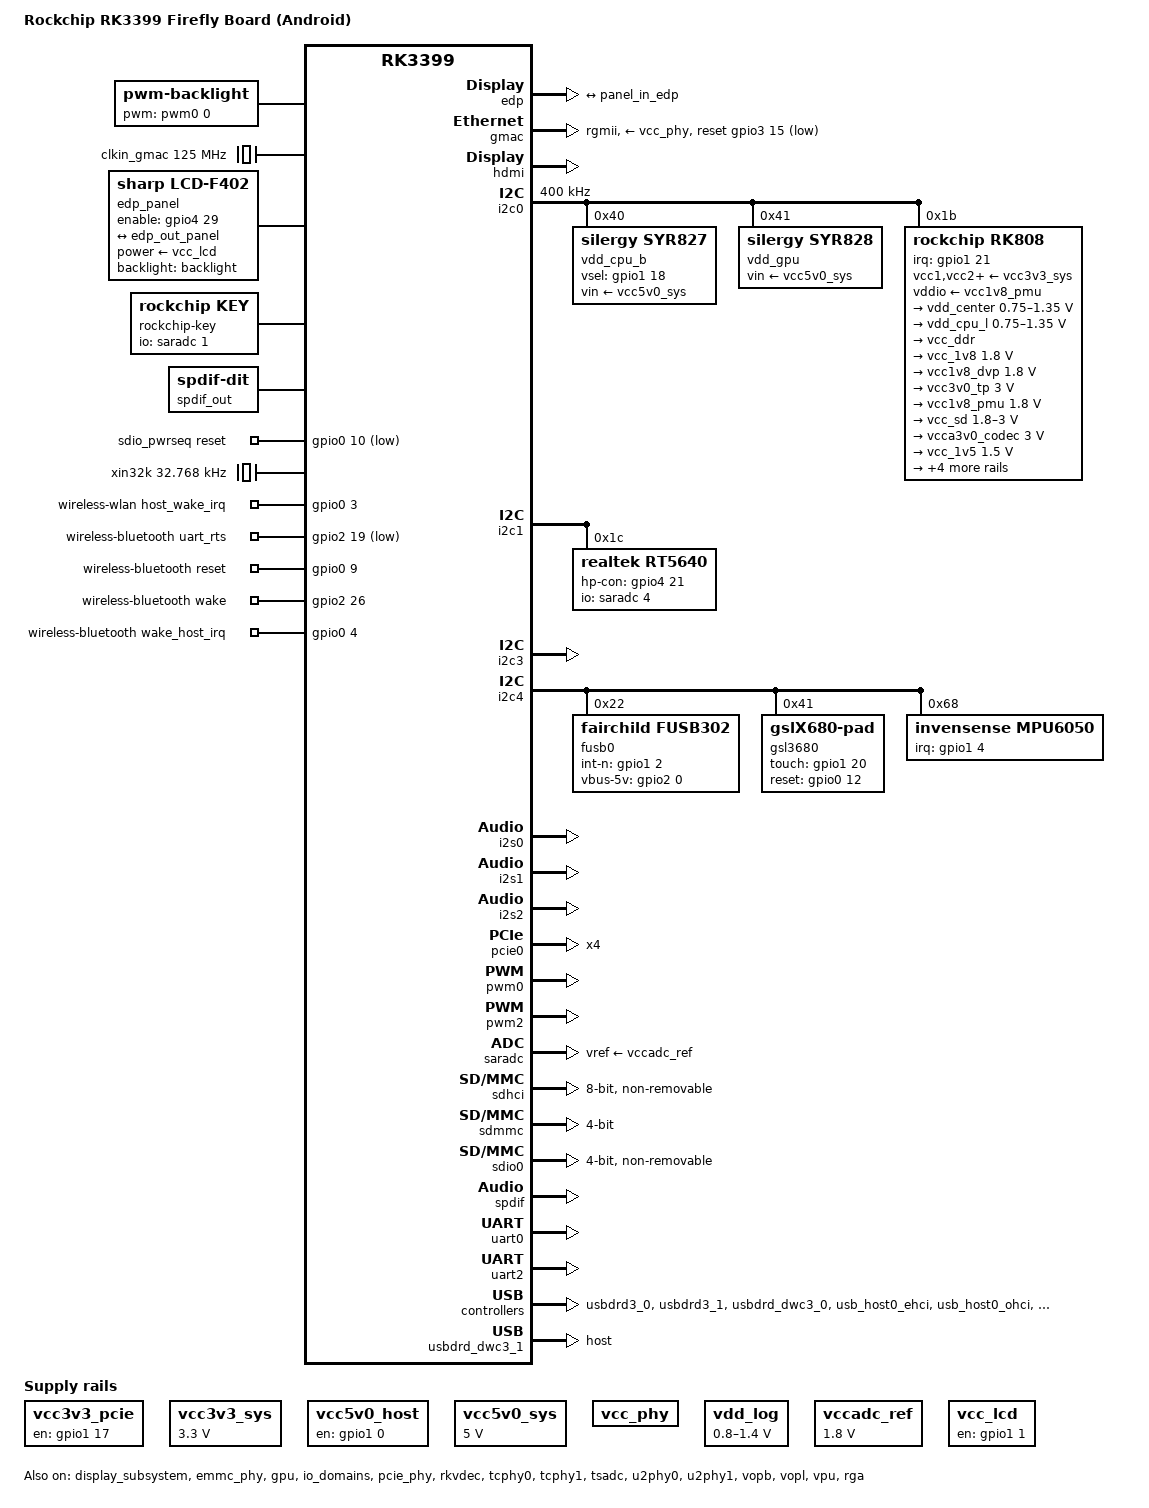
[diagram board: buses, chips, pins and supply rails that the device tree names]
/*
 * Copyright (c) 2017 Fuzhou Rockchip Electronics Co., Ltd
 *
 * This file is dual-licensed: you can use it either under the terms
 * of the GPL or the X11 license, at your option. Note that this dual
 * licensing only applies to this file, and not this project as a
 * whole.
 *
 *  a) This file is free software; you can redistribute it and/or
 *     modify it under the terms of the GNU General Public License as
 *     published by the Free Software Foundation; either version 2 of the
 *     License, or (at your option) any later version.
 *
 *     This file is distributed in the hope that it will be useful,
 *     but WITHOUT ANY WARRANTY; without even the implied warranty of
 *     MERCHANTABILITY or FITNESS FOR A PARTICULAR PURPOSE.  See the
 *     GNU General Public License for more details.
 *
 * Or, alternatively,
 *
 *  b) Permission is hereby granted, free of charge, to any person
 *     obtaining a copy of this software and associated documentation
 *     files (the "Software"), to deal in the Software without
 *     restriction, including without limitation the rights to use,
 *     copy, modify, merge, publish, distribute, sublicense, and/or
 *     sell copies of the Software, and to permit persons to whom the
 *     Software is furnished to do so, subject to the following
 *     conditions:
 *
 *     The above copyright notice and this permission notice shall be
 *     included in all copies or substantial portions of the Software.
 *
 *     THE SOFTWARE IS PROVIDED "AS IS", WITHOUT WARRANTY OF ANY KIND,
 *     EXPRESS OR IMPLIED, INCLUDING BUT NOT LIMITED TO THE WARRANTIES
 *     OF MERCHANTABILITY, FITNESS FOR A PARTICULAR PURPOSE AND
 *     NONINFRINGEMENT. IN NO EVENT SHALL THE AUTHORS OR COPYRIGHT
 *     HOLDERS BE LIABLE FOR ANY CLAIM, DAMAGES OR OTHER LIABILITY,
 *     WHETHER IN AN ACTION OF CONTRACT, TORT OR OTHERWISE, ARISING
 *     FROM, OUT OF OR IN CONNECTION WITH THE SOFTWARE OR THE USE OR
 *     OTHER DEALINGS IN THE SOFTWARE.
 */

/dts-v1/;

#include "dt-bindings/pwm/pwm.h"
#include "rk3399.dtsi"
#include "rk3399-opp.dtsi"
#include <dt-bindings/display/drm_mipi_dsi.h>
#include <dt-bindings/input/input.h>
#include "rk3399-vop-clk-set.dtsi"

/ {
	model = "Rockchip RK3399 Firefly Board (Android)";
	compatible = "rockchip,rk3399-firefly-android", "rockchip,rk3399";

	chosen {
		bootargs = "earlycon=uart8250,mmio32,0xff1a0000 swiotlb=1";
	};

	cpuinfo {
		compatible = "rockchip,cpuinfo";
		nvmem-cells = <&cpu_id>;
		nvmem-cell-names = "id";
	};

	ramoops_mem: ramoops_mem {
		reg = <0x0 0x110000 0x0 0xf0000>;
		reg-names = "ramoops_mem";
	};

	ramoops {
		compatible = "ramoops";
		record-size = <0x0 0x20000>;
		console-size = <0x0 0x80000>;
		ftrace-size = <0x0 0x00000>;
		pmsg-size = <0x0 0x50000>;
		memory-region = <&ramoops_mem>;
	};

	backlight: backlight {
		compatible = "pwm-backlight";
		pwms = <&pwm0 0 25000 0>;
		brightness-levels = <
			  0   1   2   3   4   5   6   7
			  8   9  10  11  12  13  14  15
			 16  17  18  19  20  21  22  23
			 24  25  26  27  28  29  30  31
			 32  33  34  35  36  37  38  39
			 40  41  42  43  44  45  46  47
			 48  49  50  51  52  53  54  55
			 56  57  58  59  60  61  62  63
			 64  65  66  67  68  69  70  71
			 72  73  74  75  76  77  78  79
			 80  81  82  83  84  85  86  87
			 88  89  90  91  92  93  94  95
			 96  97  98  99 100 101 102 103
			104 105 106 107 108 109 110 111
			112 113 114 115 116 117 118 119
			120 121 122 123 124 125 126 127
			128 129 130 131 132 133 134 135
			136 137 138 139 140 141 142 143
			144 145 146 147 148 149 150 151
			152 153 154 155 156 157 158 159
			160 161 162 163 164 165 166 167
			168 169 170 171 172 173 174 175
			176 177 178 179 180 181 182 183
			184 185 186 187 188 189 190 191
			192 193 194 195 196 197 198 199
			200 201 202 203 204 205 206 207
			208 209 210 211 212 213 214 215
			216 217 218 219 220 221 222 223
			224 225 226 227 228 229 230 231
			232 233 234 235 236 237 238 239
			240 241 242 243 244 245 246 247
			248 249 250 251 252 253 254 255>;
		default-brightness-level = <200>;
	};

	clkin_gmac: external-gmac-clock {
		compatible = "fixed-clock";
		clock-frequency = <125000000>;
		clock-output-names = "clkin_gmac";
		#clock-cells = <0>;
	};

	dw_hdmi_audio: dw-hdmi-audio {
		status = "okay";
		compatible = "rockchip,dw-hdmi-audio";
		#sound-dai-cells = <0>;
	};

	edp_panel: edp-panel {
		compatible = "sharp,lcd-f402", "panel-simple";
		status = "okay";

		backlight = <&backlight>;
		power-supply = <&vcc_lcd>;
		enable-gpios = <&gpio4 29 GPIO_ACTIVE_HIGH>;
		pinctrl-names = "default";
		pinctrl-0 = <&lcd_panel_reset>;

		ports {
			panel_in_edp: endpoint {
				remote-endpoint = <&edp_out_panel>;
			};
		};
	};

	fiq_debugger: fiq-debugger {
		compatible = "rockchip,fiq-debugger";
		rockchip,serial-id = <2>;
		rockchip,wake-irq = <0>;
		/* If enable uart uses irq instead of fiq */
		rockchip,irq-mode-enable = <0>;
		/* Only 115200 and 1500000 */
		rockchip,baudrate = <1500000>;
		pinctrl-names = "default";
		pinctrl-0 = <&uart2c_xfer>;
		interrupts = <GIC_SPI 150 IRQ_TYPE_LEVEL_HIGH 0>;
	};

	reserved-memory {
		#address-cells = <2>;
		#size-cells = <2>;
		ranges;

		drm_logo: drm-logo@00000000 {
			compatible = "rockchip,drm-logo";
			reg = <0x0 0x0 0x0 0x0>;
		};

		stb_devinfo: stb-devinfo@00000000 {
			compatible = "rockchip,stb-devinfo";
			reg = <0x0 0x0 0x0 0x0>;
		};
	};

	rockchip-key {
		compatible = "rockchip,key";
		status = "okay";

		io-channels = <&saradc 1>;
		power-key {
			gpios = <&gpio0 5 GPIO_ACTIVE_LOW>;
			linux,code = <116>;
			label = "power";
			gpio-key,wakeup;
		};
	};

	rt5640-sound {
		compatible = "simple-audio-card";
		simple-audio-card,format = "i2s";
		simple-audio-card,name = "rockchip,rt5640-codec";
		simple-audio-card,mclk-fs = <256>;
		simple-audio-card,widgets =
			"Microphone", "Mic Jack",
			"Headphone", "Headphone Jack";
		simple-audio-card,routing =
			"Mic Jack", "MICBIAS1",
			"IN1P", "Mic Jack",
			"Headphone Jack", "HPOL",
			"Headphone Jack", "HPOR";
		simple-audio-card,cpu {
			sound-dai = <&i2s1>;
		};
		simple-audio-card,codec {
			sound-dai = <&rt5640>;
		};
	};

	hdmi_sound: hdmi-sound {
		status = "disabled";
		compatible = "simple-audio-card";
		simple-audio-card,format = "i2s";
		simple-audio-card,mclk-fs = <256>;
		simple-audio-card,name = "rockchip,hdmi";

		simple-audio-card,cpu {
			sound-dai = <&i2s2>;
		};
		simple-audio-card,codec {
			sound-dai = <&dw_hdmi_audio>;
		};
	};

	hdmi_codec: hdmi-codec {
		compatible = "simple-audio-card";
		simple-audio-card,format = "i2s";
		simple-audio-card,mclk-fs = <256>;
		simple-audio-card,name = "HDMI-CODEC";

		simple-audio-card,cpu {
			sound-dai = <&i2s2>;
		};

		simple-audio-card,codec {
			sound-dai = <&hdmi>;
		};
	};

	rga: rga@ff680000 {
		compatible = "rockchip,rga2";
		dev_mode = <1>;
		reg = <0x0 0xff680000 0x0 0x1000>;
		interrupts = <GIC_SPI 55 IRQ_TYPE_LEVEL_HIGH 0>;
		clocks = <&cru ACLK_RGA>, <&cru HCLK_RGA>, <&cru SCLK_RGA_CORE>;
		clock-names = "aclk_rga", "hclk_rga", "clk_rga";
		power-domains = <&power RK3399_PD_RGA>;
		dma-coherent;
		status = "okay";
	};

	spdif-sound {
		compatible = "simple-audio-card";
		status = "okay";

		simple-audio-card,name = "ROCKCHIP,SPDIF";
		simple-audio-card,cpu {
			sound-dai = <&spdif>;
		};
		simple-audio-card,codec {
			sound-dai = <&spdif_out>;
		};
	};

	spdif_out: spdif-out {
		compatible = "linux,spdif-dit";
		status = "okay";

		#sound-dai-cells = <0>;
	};

	sdio_pwrseq: sdio-pwrseq {
		compatible = "mmc-pwrseq-simple";
		clocks = <&rk808 1>;
		clock-names = "ext_clock";
		pinctrl-names = "default";
		pinctrl-0 = <&wifi_enable_h>;

		/*
		 * On the module itself this is one of these (depending
		 * on the actual card populated):
		 * - SDIO_RESET_L_WL_REG_ON
		 * - PDN (power down when low)
		 */
		reset-gpios = <&gpio0 10 GPIO_ACTIVE_LOW>; /* GPIO0_B2 */
	};

	vcc3v3_pcie: vcc3v3-pcie-regulator {
		compatible = "regulator-fixed";
		enable-active-high;
		regulator-always-on;
		regulator-boot-on;
		gpio = <&gpio1 17 GPIO_ACTIVE_HIGH>;
		pinctrl-names = "default";
		pinctrl-0 = <&pcie_drv>;
		regulator-name = "vcc3v3_pcie";
	};

	vcc3v3_sys: vcc3v3-sys {
		compatible = "regulator-fixed";
		regulator-name = "vcc3v3_sys";
		regulator-always-on;
		regulator-boot-on;
		regulator-min-microvolt = <3300000>;
		regulator-max-microvolt = <3300000>;
	};

	vcc5v0_host: vcc5v0-host-regulator {
		compatible = "regulator-fixed";
		enable-active-high;
		gpio = <&gpio1 0 GPIO_ACTIVE_HIGH>;
		pinctrl-names = "default";
		pinctrl-0 = <&host_vbus_drv>;
		regulator-name = "vcc5v0_host";
		regulator-always-on;
	};

	vcc5v0_sys: vcc5v0-sys {
		compatible = "regulator-fixed";
		regulator-name = "vcc5v0_sys";
		regulator-always-on;
		regulator-boot-on;
		regulator-min-microvolt = <5000000>;
		regulator-max-microvolt = <5000000>;
	};

	vcc_phy: vcc-phy-regulator {
		compatible = "regulator-fixed";
		regulator-name = "vcc_phy";
		regulator-always-on;
		regulator-boot-on;
	};

	vdd_log: vdd-log {
		compatible = "pwm-regulator";
		pwms = <&pwm2 0 25000 1>;
		regulator-name = "vdd_log";
		regulator-min-microvolt = <800000>;
		regulator-max-microvolt = <1400000>;
		regulator-always-on;
		regulator-boot-on;

		/* for rockchip boot on */
		rockchip,pwm_id= <2>;
		rockchip,pwm_voltage = <1000000>;
	};

	vccadc_ref: vccadc-ref {
		compatible = "regulator-fixed";
		regulator-name = "vcc1v8_sys";
		regulator-always-on;
		regulator-boot-on;
		regulator-min-microvolt = <1800000>;
		regulator-max-microvolt = <1800000>;
	};

	vcc_lcd: vcc-lcd-regulator {
		compatible = "regulator-fixed";
		regulator-always-on;
		regulator-boot-on;
		enable-active-high;
		gpio = <&gpio1 1 GPIO_ACTIVE_HIGH>;
		pinctrl-names = "default";
		pinctrl-0 = <&lcd_en>;
		regulator-name = "vcc_lcd";
	};

	xin32k: xin32k {
		compatible = "fixed-clock";
		clock-frequency = <32768>;
		clock-output-names = "xin32k";
		#clock-cells = <0>;
	};

	wireless-wlan {
		compatible = "wlan-platdata";
		rockchip,grf = <&grf>;
		wifi_chip_type = "ap6354";
		sdio_vref = <1800>;
		WIFI,host_wake_irq = <&gpio0 3 GPIO_ACTIVE_HIGH>; /* GPIO0_a3 */
		status = "okay";
	};

	wireless-bluetooth {
		compatible = "bluetooth-platdata";
		//wifi-bt-power-toggle;
		uart_rts_gpios = <&gpio2 19 GPIO_ACTIVE_LOW>; /* GPIO2_C3 */
		pinctrl-names = "default", "rts_gpio";
		pinctrl-0 = <&uart0_rts>;
		pinctrl-1 = <&uart0_gpios>;
		//BT,power_gpio  = <&gpio3 19 GPIO_ACTIVE_HIGH>; /* GPIOx_xx */
		BT,reset_gpio    = <&gpio0 9 GPIO_ACTIVE_HIGH>; /* GPIO0_B1 */
		BT,wake_gpio     = <&gpio2 26 GPIO_ACTIVE_HIGH>; /* GPIO2_D2 */
		BT,wake_host_irq = <&gpio0 4 GPIO_ACTIVE_HIGH>; /* GPIO0_A4 */
		status = "okay";
	};
};

&cpu_l0 {
	cpu-supply = <&vdd_cpu_l>;
};

&cpu_l1 {
	cpu-supply = <&vdd_cpu_l>;
};

&cpu_l2 {
	cpu-supply = <&vdd_cpu_l>;
};

&cpu_l3 {
	cpu-supply = <&vdd_cpu_l>;
};

&cpu_b0 {
	cpu-supply = <&vdd_cpu_b>;
};

&cpu_b1 {
	cpu-supply = <&vdd_cpu_b>;
};

&display_subsystem {
	status = "okay";

	ports = <&vopb_out>, <&vopl_out>;
	logo-memory-region = <&drm_logo>;

	route {
		route_hdmi: route-hdmi {
			status = "okay";
			logo,uboot = "logo.bmp";
			logo,kernel = "logo_kernel.bmp";
			logo,mode = "fullscreen";
			charge_logo,mode = "center";
			connect = <&vopl_out_hdmi>;
		};

		route_edp: route-edp {
			status = "okay";
			logo,uboot = "logo.bmp";
			logo,kernel = "logo_kernel.bmp";
			logo,mode = "fullscreen";
			charge_logo,mode = "center";
			connect = <&vopb_out_edp>;
		};
	};
};

&edp {
	status = "okay";

	ports {
		edp_out: port@1 {
			reg = <1>;
			#address-cells = <1>;
			#size-cells = <0>;

			edp_out_panel: endpoint@0 {
				reg = <0>;
				remote-endpoint = <&panel_in_edp>;
			};
		};
	};
};

&emmc_phy {
	status = "okay";
};

&gmac {
	phy-supply = <&vcc_phy>;
	phy-mode = "rgmii";
	clock_in_out = "input";
	snps,reset-gpio = <&gpio3 15 GPIO_ACTIVE_LOW>;
	snps,reset-active-low;
	snps,reset-delays-us = <0 10000 50000>;
	assigned-clocks = <&cru SCLK_RMII_SRC>;
	assigned-clock-parents = <&clkin_gmac>;
	pinctrl-names = "default";
	pinctrl-0 = <&rgmii_pins>;
	tx_delay = <0x28>;
	rx_delay = <0x11>;
	status = "okay";
};

&gpu {
	status = "okay";
	mali-supply = <&vdd_gpu>;
};

&hdmi {
	#address-cells = <1>;
	#size-cells = <0>;
	#sound-dai-cells = <0>;
	status = "okay";
};

&i2c0 {
	status = "okay";
	i2c-scl-rising-time-ns = <168>;
	i2c-scl-falling-time-ns = <4>;
	clock-frequency = <400000>;

	vdd_cpu_b: syr827@40 {
		compatible = "silergy,syr827";
		reg = <0x40>;
		vin-supply = <&vcc5v0_sys>;
		regulator-compatible = "fan53555-reg";
		regulator-name = "vdd_cpu_b";
		regulator-min-microvolt = <712500>;
		regulator-max-microvolt = <1500000>;
		regulator-ramp-delay = <1000>;
		vsel-gpios = <&gpio1 18 GPIO_ACTIVE_HIGH>;
		fcs,suspend-voltage-selector = <1>;
		regulator-always-on;
		regulator-boot-on;
		regulator-initial-state = <3>;
			regulator-state-mem {
			regulator-off-in-suspend;
		};
	};

	vdd_gpu: syr828@41 {
		compatible = "silergy,syr828";
		reg = <0x41>;
		vin-supply = <&vcc5v0_sys>;
		regulator-compatible = "fan53555-reg";
		regulator-name = "vdd_gpu";
		regulator-min-microvolt = <712500>;
		regulator-max-microvolt = <1500000>;
		regulator-ramp-delay = <1000>;
		fcs,suspend-voltage-selector = <1>;
		regulator-always-on;
		regulator-boot-on;
		regulator-initial-state = <3>;
			regulator-state-mem {
			regulator-off-in-suspend;
		};
	};

	rk808: pmic@1b {
		compatible = "rockchip,rk808";
		reg = <0x1b>;
		interrupt-parent = <&gpio1>;
		interrupts = <21 IRQ_TYPE_LEVEL_LOW>;
		pinctrl-names = "default";
		pinctrl-0 = <&pmic_int_l &pmic_dvs2>;
		rockchip,system-power-controller;
		wakeup-source;
		#clock-cells = <1>;
		clock-output-names = "rk808-clkout1", "rk808-clkout2";

		vcc1-supply = <&vcc3v3_sys>;
		vcc2-supply = <&vcc3v3_sys>;
		vcc3-supply = <&vcc3v3_sys>;
		vcc4-supply = <&vcc3v3_sys>;
		vcc6-supply = <&vcc3v3_sys>;
		vcc7-supply = <&vcc3v3_sys>;
		vcc8-supply = <&vcc3v3_sys>;
		vcc9-supply = <&vcc3v3_sys>;
		vcc10-supply = <&vcc3v3_sys>;
		vcc11-supply = <&vcc3v3_sys>;
		vcc12-supply = <&vcc3v3_sys>;
		vddio-supply = <&vcc1v8_pmu>;

		regulators {
			vdd_center: DCDC_REG1 {
				regulator-always-on;
				regulator-boot-on;
				regulator-min-microvolt = <750000>;
				regulator-max-microvolt = <1350000>;
				regulator-ramp-delay = <6001>;
				regulator-name = "vdd_center";
				regulator-state-mem {
					regulator-off-in-suspend;
				};
			};

			vdd_cpu_l: DCDC_REG2 {
				regulator-always-on;
				regulator-boot-on;
				regulator-min-microvolt = <750000>;
				regulator-max-microvolt = <1350000>;
				regulator-ramp-delay = <6001>;
				regulator-name = "vdd_cpu_l";
				regulator-state-mem {
					regulator-off-in-suspend;
				};
			};

			vcc_ddr: DCDC_REG3 {
				regulator-always-on;
				regulator-boot-on;
				regulator-name = "vcc_ddr";
				regulator-state-mem {
					regulator-on-in-suspend;
				};
			};

			vcc_1v8: DCDC_REG4 {
				regulator-always-on;
				regulator-boot-on;
				regulator-min-microvolt = <1800000>;
				regulator-max-microvolt = <1800000>;
				regulator-name = "vcc_1v8";
				regulator-state-mem {
					regulator-on-in-suspend;
					regulator-suspend-microvolt = <1800000>;
				};
			};

			vcc1v8_dvp: LDO_REG1 {
				regulator-always-on;
				regulator-boot-on;
				regulator-min-microvolt = <1800000>;
				regulator-max-microvolt = <1800000>;
				regulator-name = "vcc1v8_dvp";
				regulator-state-mem {
					regulator-off-in-suspend;
				};
			};

			vcc3v0_tp: LDO_REG2 {
				regulator-always-on;
				regulator-boot-on;
				regulator-min-microvolt = <3000000>;
				regulator-max-microvolt = <3000000>;
				regulator-name = "vcc3v0_tp";
				regulator-state-mem {
					regulator-off-in-suspend;
				};
			};

			vcc1v8_pmu: LDO_REG3 {
				regulator-always-on;
				regulator-boot-on;
				regulator-min-microvolt = <1800000>;
				regulator-max-microvolt = <1800000>;
				regulator-name = "vcc1v8_pmu";
				regulator-state-mem {
					regulator-on-in-suspend;
					regulator-suspend-microvolt = <1800000>;
				};
			};

			vcc_sd: LDO_REG4 {
				regulator-always-on;
				regulator-boot-on;
				regulator-min-microvolt = <1800000>;
				regulator-max-microvolt = <3000000>;
				regulator-name = "vcc_sd";
				regulator-state-mem {
					regulator-on-in-suspend;
					regulator-suspend-microvolt = <3000000>;
				};
			};

			vcca3v0_codec: LDO_REG5 {
				regulator-always-on;
				regulator-boot-on;
				regulator-min-microvolt = <3000000>;
				regulator-max-microvolt = <3000000>;
				regulator-name = "vcca3v0_codec";
				regulator-state-mem {
					regulator-off-in-suspend;
				};
			};

			vcc_1v5: LDO_REG6 {
				regulator-always-on;
				regulator-boot-on;
				regulator-min-microvolt = <1500000>;
				regulator-max-microvolt = <1500000>;
				regulator-name = "vcc_1v5";
				regulator-state-mem {
					regulator-on-in-suspend;
					regulator-suspend-microvolt = <1500000>;
				};
			};

			vcca1v8_codec: LDO_REG7 {
				regulator-always-on;
				regulator-boot-on;
				regulator-min-microvolt = <1800000>;
				regulator-max-microvolt = <1800000>;
				regulator-name = "vcca1v8_codec";
				regulator-state-mem {
					regulator-off-in-suspend;
				};
			};

			vcc_3v0: LDO_REG8 {
				regulator-always-on;
				regulator-boot-on;
				regulator-min-microvolt = <3000000>;
				regulator-max-microvolt = <3000000>;
				regulator-name = "vcc_3v0";
				regulator-state-mem {
					regulator-on-in-suspend;
					regulator-suspend-microvolt = <3000000>;
				};
			};

			vcc3v3_s3: SWITCH_REG1 {
				regulator-always-on;
				regulator-boot-on;
				regulator-name = "vcc3v3_s3";
				regulator-state-mem {
					regulator-off-in-suspend;
				};
			};

			vcc3v3_s0: SWITCH_REG2 {
				regulator-always-on;
				regulator-boot-on;
				regulator-name = "vcc3v3_s0";
				regulator-state-mem {
					regulator-off-in-suspend;
				};
			};
		};
	};
};

&i2c1 {
	status = "okay";
	i2c-scl-rising-time-ns = <300>;
	i2c-scl-falling-time-ns = <15>;

	rt5640: rt5640@1c {
		#sound-dai-cells = <0>;
		compatible = "realtek,rt5640";
		reg = <0x1c>;
		clocks = <&cru SCLK_I2S_8CH_OUT>;
		clock-names = "mclk";
		realtek,in1-differential;
		pinctrl-names = "default";
		pinctrl-0 = <&rt5640_hpcon &i2s_8ch_mclk>;
		hp-con-gpio = <&gpio4 21 GPIO_ACTIVE_HIGH>;
		//hp-det-gpio = <&gpio4 28 GPIO_ACTIVE_LOW>;
		io-channels = <&saradc 4>;
		hp-det-adc-value = <500>;
		status = "okay";
	};
};

&i2c3 {
	status = "okay";
	i2c-scl-rising-time-ns = <450>;
	i2c-scl-falling-time-ns = <15>;
};

&i2c4 {
	status = "okay";
	i2c-scl-rising-time-ns = <600>;
	i2c-scl-falling-time-ns = <20>;

	fusb0: fusb30x@22 {
		compatible = "fairchild,fusb302";
		reg = <0x22>;
		pinctrl-names = "default";
		pinctrl-0 = <&fusb0_int>;
		int-n-gpios = <&gpio1 2 GPIO_ACTIVE_HIGH>;
		vbus-5v-gpios = <&gpio2 0 GPIO_ACTIVE_HIGH>;
		status = "okay";
	};

	gsl3680: gsl3680@41 {
		compatible = "gslX680-pad";
		reg = <0x41>;
		screen_max_x = <1536>;
		screen_max_y = <2048>;
		touch-gpio = <&gpio1 20 IRQ_TYPE_LEVEL_LOW>;
		reset-gpio = <&gpio0 12 GPIO_ACTIVE_HIGH>;
		status = "okay";
	};

	mpu6050: mpu@68 {
		compatible = "invensense,mpu6050";
		reg = <0x68>;
		mpu-int_config = <0x10>;
		mpu-level_shifter = <0>;
		mpu-orientation = <0 1 0 1 0 0 0 0 1>;
		orientation-x= <1>;
		orientation-y= <1>;
		orientation-z= <1>;
		irq-gpio = <&gpio1 4 IRQ_TYPE_LEVEL_LOW>;
		mpu-debug = <1>;
		status = "okay";
	};
};

&i2s0 {
	status = "okay";
	rockchip,i2s-broken-burst-len;
	rockchip,playback-channels = <8>;
	rockchip,capture-channels = <8>;
	#sound-dai-cells = <0>;
};

&i2s1 {
	status = "okay";
	rockchip,i2s-broken-burst-len;
	rockchip,playback-channels = <2>;
	rockchip,capture-channels = <2>;
	#sound-dai-cells = <0>;
};

&i2s2 {
	#sound-dai-cells = <0>;
	status = "okay";
};

&io_domains {
	status = "okay";

	bt656-supply = <&vcc1v8_dvp>;		/* bt656_gpio2ab_ms */
	audio-supply = <&vcca1v8_codec>;	/* audio_gpio3d4a_ms */
	sdmmc-supply = <&vcc_sd>;		/* sdmmc_gpio4b_ms */
	gpio1830-supply = <&vcc_3v0>;		/* gpio1833_gpio4cd_ms */
};

&pcie_phy {
	status = "okay";
};

&pcie0 {
	ep-gpios = <&gpio4 25 GPIO_ACTIVE_HIGH>;
	num-lanes = <4>;
	pinctrl-names = "default";
	pinctrl-0 = <&pcie_clkreqn_cpm>;
	status = "okay";
};

&pmu_io_domains {
	status = "okay";
	pmu1830-supply = <&vcc_3v0>;
};

&pinctrl {

	lcd-panel {
		lcd_panel_reset: lcd-panel-reset {
			rockchip,pins = <4 29 RK_FUNC_GPIO &pcfg_pull_up>;
		};

		lcd_en: lcd-en {
			rockchip,pins = <1 1 RK_FUNC_GPIO &pcfg_pull_up>;
		};
	};

	pcie {
		pcie_drv: pcie-drv {
			rockchip,pins =
				<1 17 RK_FUNC_GPIO &pcfg_pull_none>;
			};
			pcie_3g_drv: pcie-3g-drv {
			rockchip,pins =
				<0 2 RK_FUNC_GPIO &pcfg_pull_up>;
		};
	};

	pmic {
		vsel1_gpio: vsel1-gpio {
			rockchip,pins =
				<1 18 RK_FUNC_GPIO &pcfg_pull_down>;
		};

		vsel2_gpio: vsel2-gpio {
			rockchip,pins =
			<1 14 RK_FUNC_GPIO &pcfg_pull_down>;
		};
	};

	sdio-pwrseq {
		wifi_enable_h: wifi-enable-h {
			rockchip,pins =
				<0 10 RK_FUNC_GPIO &pcfg_pull_none>;
		};
	};

	wireless-bluetooth {
		uart0_gpios: uart0-gpios {
			rockchip,pins =
				<2 19 RK_FUNC_GPIO &pcfg_pull_none>;
		};
	};

	rt5640 {
		rt5640_hpcon: rt5640-hpcon {
			rockchip,pins = <4 21 RK_FUNC_GPIO &pcfg_pull_none>;
		};
	};

	pmic {
		pmic_int_l: pmic-int-l {
			rockchip,pins =
				<1 21 RK_FUNC_GPIO &pcfg_pull_up>;
		};

		pmic_dvs2: pmic-dvs2 {
			rockchip,pins =
				<1 18 RK_FUNC_GPIO &pcfg_pull_down>;
		};
	};

	usb2 {
		host_vbus_drv: host-vbus-drv {
			rockchip,pins =
				<4 25 RK_FUNC_GPIO &pcfg_pull_none>;
		};
	};

	fusb30x {
		fusb0_int: fusb0-int {
			rockchip,pins = <1 2 RK_FUNC_GPIO &pcfg_pull_up>;
		};
	};
};

&pwm0 {
	status = "okay";
};

&pwm2 {
	status = "okay";
};

&rkvdec {
	status = "okay";
};

&rockchip_suspend {
	rockchip,power-ctrl =
		<&gpio1 18 GPIO_ACTIVE_LOW>,
		<&gpio1 14 GPIO_ACTIVE_HIGH>;
};

&saradc {
	status = "okay";
	vref-supply = <&vccadc_ref>;
};

&sdhci {
	bus-width = <8>;
	keep-power-in-suspend;
	mmc-hs400-1_8v;
	mmc-hs400-enhanced-strobe;
	non-removable;
	status = "okay";
	supports-emmc;
};

&sdmmc {
	max-frequency = <150000000>;
	supports-sd;
	bus-width = <4>;
	cap-mmc-highspeed;
	cap-sd-highspeed;
	disable-wp;
	num-slots = <1>;
	vqmmc-supply = <&vcc_sd>;
	pinctrl-names = "default";
	pinctrl-0 = <&sdmmc_clk &sdmmc_cmd &sdmmc_cd &sdmmc_bus4>;
	status = "okay";
};

&sdio0 {
	max-frequency = <50000000>;
	supports-sdio;
	bus-width = <4>;
	disable-wp;
	cap-sd-highspeed;
	keep-power-in-suspend;
	mmc-pwrseq = <&sdio_pwrseq>;
	non-removable;
	num-slots = <1>;
	pinctrl-names = "default";
	pinctrl-0 = <&sdio0_bus4 &sdio0_cmd &sdio0_clk>;
	sd-uhs-sdr104;
	status = "okay";
};

&spdif {
	status = "okay";
	pinctrl-0 = <&spdif_bus_1>;
	i2c-scl-rising-time-ns = <450>;
	i2c-scl-falling-time-ns = <15>;
	#sound-dai-cells = <0>;
};

&tcphy0 {
	extcon = <&fusb0>;
	status = "okay";
};

&tcphy1 {
	status = "okay";
};

&tsadc {
	/* tshut mode 0:CRU 1:GPIO */
	rockchip,hw-tshut-mode = <1>;
	/* tshut polarity 0:LOW 1:HIGH */
	rockchip,hw-tshut-polarity = <1>;
	status = "okay";
};

&u2phy0 {
	status = "okay";
	extcon = <&fusb0>;

	u2phy0_otg: otg-port {
		status = "okay";
	};

	u2phy0_host: host-port {
		phy-supply = <&vcc5v0_host>;
		status = "okay";
	};
};

&u2phy1 {
	status = "okay";

	u2phy1_otg: otg-port {
		status = "okay";
	};

	u2phy1_host: host-port {
		phy-supply = <&vcc5v0_host>;
		status = "okay";
	};
};

&uart0 {
	pinctrl-names = "default";
	pinctrl-0 = <&uart0_xfer &uart0_cts>;
	status = "okay";
};

&uart2 {
	status = "okay";
};

&usbdrd3_0 {
	status = "okay";
	extcon = <&fusb0>;
};

&usbdrd3_1 {
	status = "okay";
};

&usbdrd_dwc3_0 {
	status = "okay";
};

&usbdrd_dwc3_1 {
	status = "okay";
	dr_mode = "host";
};

&usb_host0_ehci {
	status = "okay";
};

&usb_host0_ohci {
	status = "okay";
};

&usb_host1_ehci {
	status = "okay";
};

&usb_host1_ohci {
	status = "okay";
};

&vopb {
	status = "okay";
};

&vopb_mmu {
	status = "okay";
};

&vopl {
	status = "okay";
};

&vopl_mmu {
	status = "okay";
};

&vpu {
	status = "okay";
};
